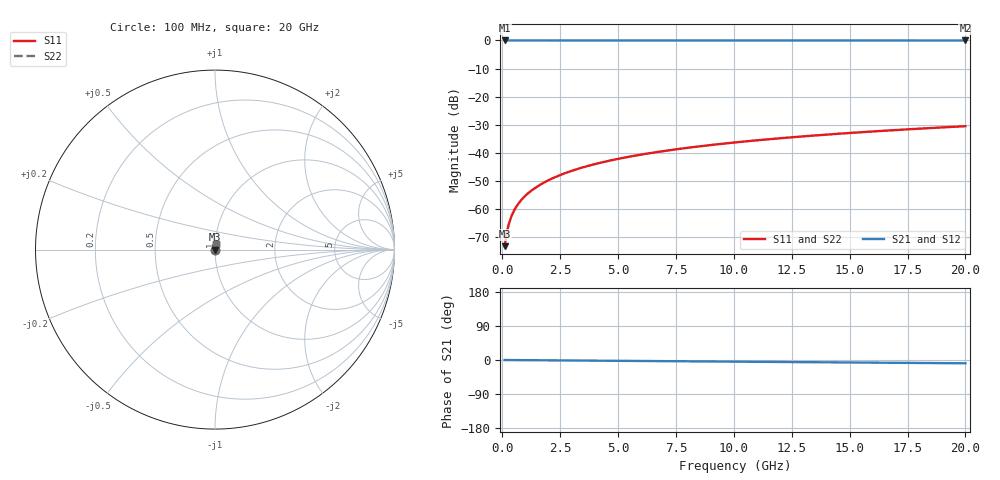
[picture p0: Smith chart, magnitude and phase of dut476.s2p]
! Touchstone file exported from HFSS 2026.1.0
!  File:  C:/ffzhzh/LocalFiles/Ansys_Project_Files/temp_train_TSV_476_1783022450_51716.aedt
!  Generated:  04:02:42 AM Jul  3, 2026
!  Design:  TSV
!  Project:  temp_train_TSV_476_1783022450_51716
! Variables:
!  h_bsmrdl = 2um
!  h_ox = 20um
!  h_rdl = 5um
!  h_sub = 82.12um
!  h_tmrdl = 5um
!  h_tsv = 82.12um
!  h_via = 3um
!  l_bsmrdl = 300um
!  l_sub = 421.98um
!  l_tmrdl = 200um
!  m_sub = 200um
!  pitch = 55.62um
!  r_tsv = 10.99um
!  s_tmrdl = 10um
!  w_bsmrdl = 18um
!  w_sub = 500um
!  w_tmrdl = 12um
!  x_tsv_center1 = 206um
!  x_tsv_center2 = 524um
!  x_tsv_center3 = 736um
!  x_tsv_center4 = 1054um
!  x_tsv_center5 = 1266um
!  x_tsv_center6 = 1584um
# GHz S MA R 50.000000
! Terminal data exported
! Port[1] = TSV1_1_T1
! Port[2] = TSV1_1_T2
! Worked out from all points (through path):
!   200 points, 100 MHz to 20 GHz, reference 50 ohm
!   highest |S21| = 0.00 dB at 100 MHz (marker M1); lowest = 0.0 dB at 20 GHz (marker M2)
!   group delay of S21, straight-line fit = 1.2 ps
!   lowest |S11| = -73.1 dB at 100 MHz (marker M3), VSWR 1.00, Z = 50 + j0.0191 ohm
!   |S11| at or under -10 dB: start of sweep to end of sweep
!   |S22| runs from -73.1 to -30.5 dB; largest |S21 - S12| = 5.1e-15
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0.1  0.0002208 60.0  0.9999 -0.0  0.9999 -0.0  0.0002208 60.0
! Gamma 0 0 0 0
! Port Impedance 50 0 50 0
0.2  0.000399 72.2  0.9999 -0.1  0.9999 -0.1  0.000399 72.2
0.3  0.000581 76.1  0.9999 -0.1  0.9999 -0.1  0.000581 76.1
0.4  0.0007598 77.7  0.9998 -0.2  0.9998 -0.2  0.0007598 77.7
0.5  0.0009338 78.6  0.9998 -0.2  0.9998 -0.2  0.0009338 78.6
0.6  0.001103 79.1  0.9998 -0.3  0.9998 -0.3  0.001103 79.1
0.7  0.001268 79.5  0.9998 -0.3  0.9998 -0.3  0.001268 79.5
0.9  0.001589 80.1  0.9997 -0.4  0.9997 -0.4  0.001589 80.1
1.1  0.001903 80.6  0.9997 -0.5  0.9997 -0.5  0.001903 80.6
1.3  0.002213 81.1  0.9997 -0.6  0.9997 -0.6  0.002213 81.1
1.6  0.002674 81.7  0.9996 -0.7  0.9996 -0.7  0.002674 81.7
1.9  0.003135 82.2  0.9996 -0.8  0.9996 -0.8  0.003135 82.2
2.6  0.004209 82.9  0.9996 -1.1  0.9996 -1.1  0.004209 82.9
3.5  0.005586 83.4  0.9995 -1.5  0.9995 -1.5  0.005586 83.4
4.2  0.006652 83.5  0.9994 -1.8  0.9994 -1.8  0.006652 83.5
5  0.007863 83.5  0.9994 -2.2  0.9994 -2.2  0.007863 83.5
6.8  0.01057 83.3  0.9992 -3.0  0.9992 -3.0  0.01057 83.3
8.3  0.0128 82.9  0.9991 -3.6  0.9991 -3.6  0.0128 82.9
10.1  0.01547 82.5  0.999 -4.4  0.999 -4.4  0.01547 82.5
13.4  0.02034 81.4  0.9988 -5.8  0.9988 -5.8  0.02034 81.4
16.7  0.02517 80.3  0.9986 -7.3  0.9986 -7.3  0.02517 80.3
20  0.02994 79.0  0.9984 -8.7  0.9984 -8.7  0.02994 79.0
